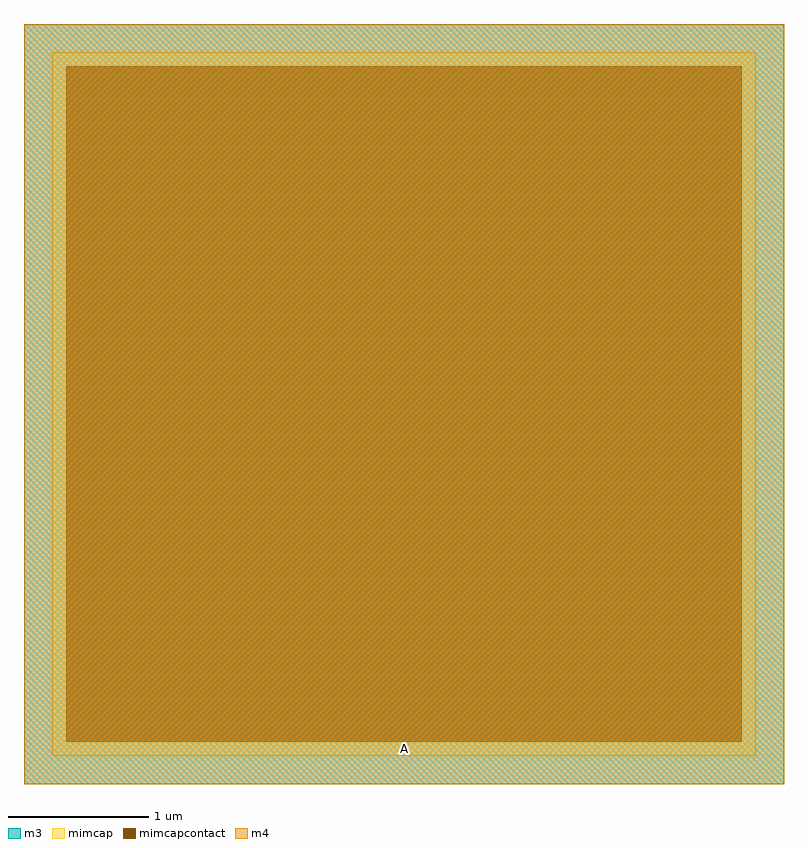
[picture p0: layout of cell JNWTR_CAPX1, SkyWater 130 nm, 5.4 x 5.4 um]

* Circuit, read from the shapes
.subckt JNWTR_CAPX1 A B
XC1 B A sky130_fd_pr__cap_mim_m3_1 w=5 l=5
.ends

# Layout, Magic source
magic
tech sky130A
magscale 1 1
<< m3 >>
rect 0 0 540 50
rect 0 0 540 50
rect 0 0 540 540
<< m4 >>
rect 0 0 540 50
rect 0 0 540 50
rect 0 0 540 540
<< mimcap >>
rect 20 20 520 520
<< mimcapcontact >>
rect 30 30 510 510
<< labels >>
flabel m3 s 0 0 540 50 0 FreeSans 400 0 0 0 A
port 1 nsew signal bidirectional
flabel m4 s 0 0 540 50 0 FreeSans 400 0 0 0 B
port 2 nsew signal bidirectional
<< properties >>
string FIXED_BBOX 0 0 540 540
<< end >>
